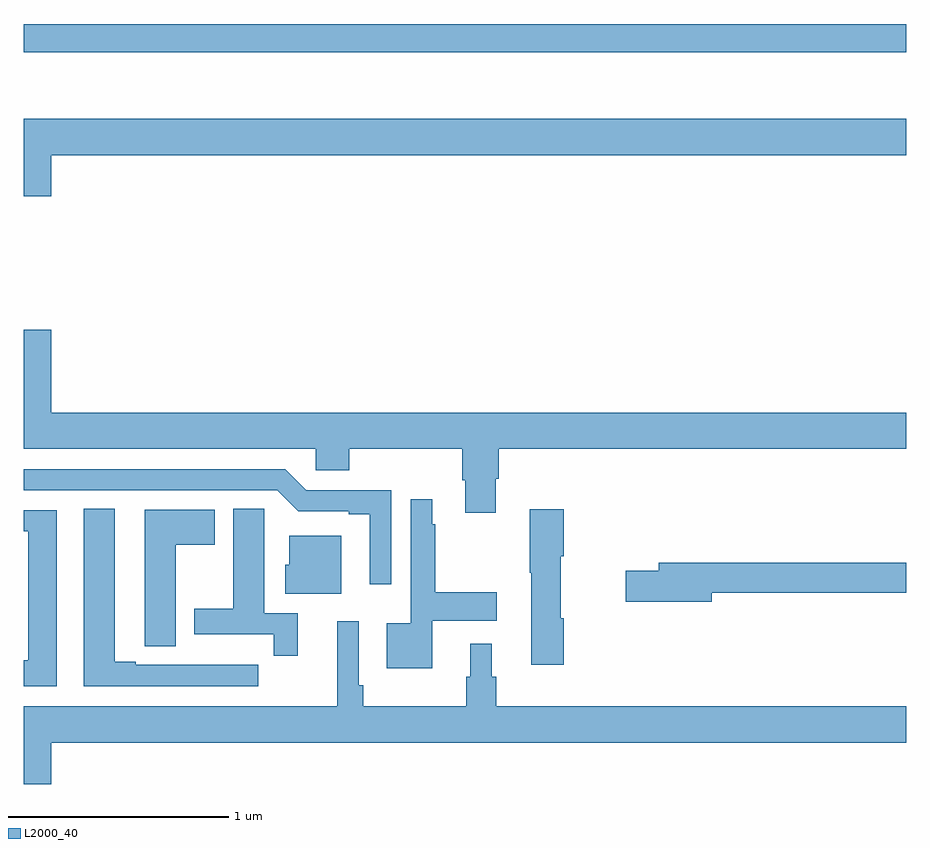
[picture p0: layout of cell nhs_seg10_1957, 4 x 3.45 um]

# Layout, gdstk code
import gdstk
lib = gdstk.Library(unit=1e-6, precision=1e-09)
def R(c, l, rs):  # rectangles x0, y0, x1, y1
    for r in rs: c.add(gdstk.rectangle(r[:2], r[2:], *l))
def P(c, l, *ps):  # polygons
    for p in ps: c.add(gdstk.Polygon(p, *l))
L2000_40 = (2000, 40)

nhs_seg10_1957 = lib.new_cell('nhs_seg10_1957')
R(nhs_seg10_1957, L2000_40, [(213,1318.098,217,1318.226)])
P(nhs_seg10_1957, L2000_40, [(213.124,1317.632),(217,1317.632),(217,1317.796),(213,1317.796),(213,1317.444),(213.124,1317.444)],
  [(215.14,1316.163),(215.153,1316.163),(215.153,1316.3),(217,1316.3),(217,1316.464),(213.124,1316.464),(213.124,1316.839),(213,1316.839),(213,1316.3),(214.323,1316.3),(214.323,1316.202),(214.475,1316.202),(214.475,1316.3),(214.988,1316.3),(214.988,1316.158),(215,1316.158),(215,1316.01),(215.14,1316.01)],
  [(214.665,1316.112),(214.281,1316.112),(214.185,1316.208),(213,1316.208),(213,1316.112),(214.149,1316.112),(214.245,1316.016),(214.472,1316.016),(214.472,1316.004),(214.568,1316.004),(214.568,1315.686),(214.665,1315.686)],
  [(214.852,1315.52),(215.143,1315.52),(215.143,1315.65),(214.864,1315.65),(214.864,1315.958),(214.852,1315.958),(214.852,1316.071),(214.755,1316.071),(214.755,1315.51),(214.646,1315.51),(214.646,1315.304),(214.852,1315.304)],
  [(214.241,1315.554),(214.09,1315.554),(214.09,1315.916),(214.089,1315.916),(214.089,1316.027),(213.95,1316.027),(213.95,1315.575),(213.773,1315.575),(213.773,1315.458),(214.132,1315.458),(214.132,1315.362),(214.241,1315.362)],
  [(214.063,1315.32),(213.95,1315.32),(213.95,1315.321),(213.784,1315.321),(213.784,1315.32),(213.508,1315.32),(213.508,1315.335),(213.412,1315.335),(213.412,1316.027),(213.272,1316.027),(213.272,1315.224),(214.063,1315.224)],
  [(215.447,1315.532),(215.434,1315.532),(215.434,1315.813),(215.447,1315.813),(215.447,1316.026),(215.293,1316.026),(215.293,1315.738),(215.3,1315.738),(215.3,1315.32),(215.447,1315.32)],
  [(213.688,1315.864),(213.865,1315.864),(213.865,1316.023),(213.548,1316.023),(213.548,1315.513),(213.549,1315.513),(213.549,1315.405),(213.688,1315.405)],
  [(213.148,1316.022),(213,1316.022),(213,1315.926),(213.02,1315.926),(213.02,1315.34),(213,1315.34),(213,1315.224),(213.148,1315.224)],
  [(214.438,1315.906),(214.202,1315.906),(214.202,1315.773),(214.184,1315.773),(214.184,1315.643),(214.438,1315.643)],
  [(216.118,1315.648),(217,1315.648),(217,1315.784),(215.879,1315.784),(215.879,1315.748),(215.73,1315.748),(215.73,1315.606),(216.118,1315.606)],
  [(213.124,1314.968),(217,1314.968),(217,1315.132),(215.141,1315.132),(215.141,1315.266),(215.122,1315.266),(215.122,1315.417),(215.024,1315.417),(215.024,1315.266),(215.005,1315.266),(215.005,1315.132),(214.538,1315.132),(214.538,1315.228),(214.518,1315.228),(214.518,1315.519),(214.421,1315.519),(214.421,1315.132),(213,1315.132),(213,1314.78),(213.124,1314.78)])

lib.write_gds('nhs_seg10_1957.gds')
